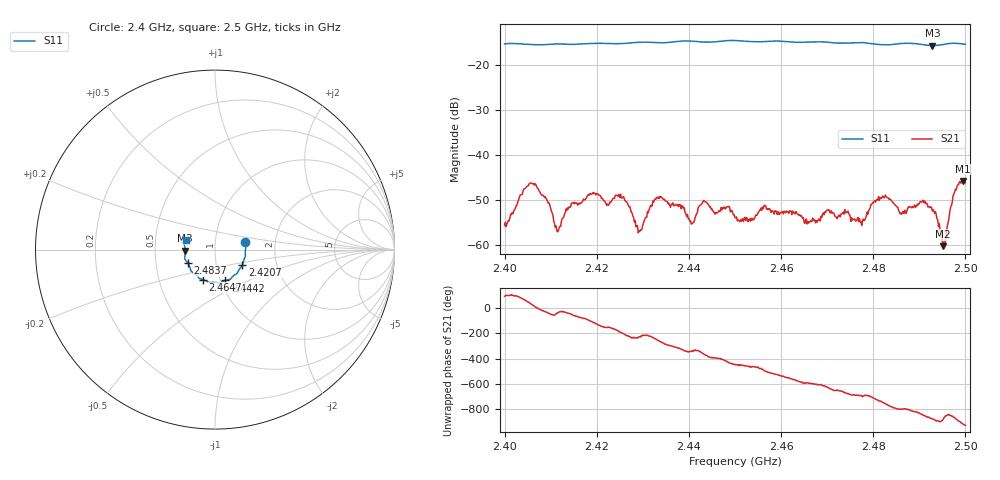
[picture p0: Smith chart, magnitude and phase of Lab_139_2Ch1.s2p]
# Hz S RI R 50
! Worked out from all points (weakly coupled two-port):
!   601 points, 2.4 GHz to 2.5 GHz, reference 50 ohm
!   highest |S21| = -45.66 dB at 2.4995 GHz (marker M1); lowest = -60.2 dB at 2.4952 GHz (marker M2)
!   lowest |S11| = -15.6 dB at 2.4928 GHz (marker M3), VSWR 1.40, Z = 35.8 - j0.384 ohm
!   |S11| at or under -10 dB: start of sweep to end of sweep
!   S12 and S22 are empty: the file has one direction only
!   S11 on the Smith chart (normalised r, x): 2.4 GHz: 1.40, +0.12; 2.4207 GHz: 1.33, -0.24; 2.4442 GHz: 1.05, -0.37; 2.4647 GHz: 0.83, -0.29; 2.4837 GHz: 0.73, -0.11; 2.5 GHz: 0.72, +0.08
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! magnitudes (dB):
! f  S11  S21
! 2.4 GHz  -15.2  -55.6
! 2.4058 GHz  -15.4  -46.2
! 2.4115 GHz  -15.2  -57.0
! 2.4167 GHz  -15.3  -50.5
! 2.4207 GHz  -15.1  -48.9
! 2.4257 GHz  -15.2  -49.2
! 2.4293 GHz  -14.9  -56.9
! 2.4333 GHz  -15.0  -49.3
! 2.4407 GHz  -14.6  -55.2
! 2.4442 GHz  -14.9  -50.9
! 2.45 GHz  -14.5  -53.8
! 2.4647 GHz  -14.9  -54.0
! 2.4667 GHz  -14.8  -54.7
! 2.4777 GHz  -15.0  -54.6
! 2.4833 GHz  -15.4  -49.5
! 2.4837 GHz  -15.4  -49.7
! 2.4862 GHz  -15.1  -53.1
! 2.4928 GHz  -15.6  -52.4
! 2.4952 GHz  -15.4  -60.2
! 2.4978 GHz  -15.1  -47.6
! 2.4995 GHz  -15.3  -45.7
! 2.5 GHz  -15.3  -46.1
